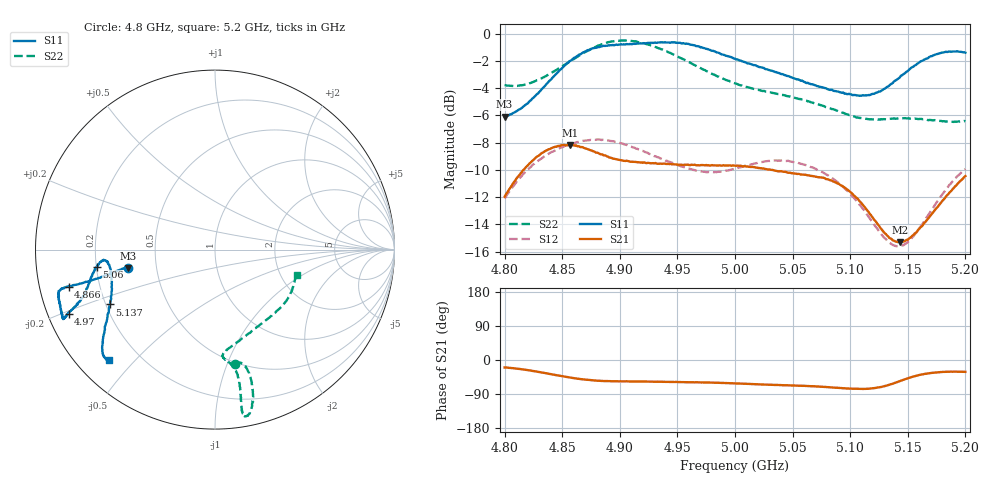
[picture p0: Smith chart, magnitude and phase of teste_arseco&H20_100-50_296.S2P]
! Network Analyzer HP8722D
! Hewlett-Packard
! Data name: Linha & Wilkinson
! Saver's name: Rodrigo Anjos
! Comments: Teste da utilização de aquisição
! continua pelo VNA HP8722D
! Time and date: 6/5/2025 15:02
!  Frequency  S11  S21  S12  S22
# HZ  S  MA R 50
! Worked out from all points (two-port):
!   401 points, 4.8 GHz to 5.2 GHz, reference 50 ohm
!   highest |S21| = -8.17 dB at 4.857 GHz (marker M1); lowest = -15.3 dB at 5.143 GHz (marker M2)
!   |S21| within 3 dB of the highest: 4.806 GHz to 5.093 GHz (286.8 MHz wide, 5.79 % of centre); 5.191832 GHz to end of sweep
!   lowest |S11| = -6.1 dB at 4.8 GHz (marker M3), VSWR 2.97, Z = 17 - j4.61 ohm
!   |S11| at or under -10 dB: nowhere
!   |S22| runs from -6.5 to -0.5 dB; largest |S21 - S12| = 0.62
!   S11 on the Smith chart (normalised r, x): 4.8 GHz: 0.34, -0.09; 4.866 GHz: 0.09, -0.12; 4.97 GHz: 0.06, -0.21; 5.06 GHz: 0.20, -0.07; 5.137 GHz: 0.22, -0.23; 5.2 GHz: 0.09, -0.42
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4.8e9  0.4966 -168.1  0.2519 -19.7  0.2485 -140.9  0.6474 -80.3
4.828e9  0.6002 -167.1  0.3532 -30.6  0.3382 -144.8  0.6749 -75.4
4.857e9  0.7955 -165.8  0.3905 -46.2  0.393 -150.3  0.7921 -74.8
4.866e9  0.8411 -165.8  0.383 -50.4  0.4023 -151.8  0.8365 -75.3
4.867e9  0.8476 -165.8  0.3837 -50.8  0.4031 -151.9  0.8425 -75.4
4.884e9  0.8985 -165.0  0.3607 -55.2  0.407 -154.9  0.914 -77.3
4.9e9  0.913 -162.6  0.3439 -56.2  0.3968 -156.5  0.9433 -79.1
4.934e9  0.9286 -156.4  0.3329 -57.4  0.3508 -155.6  0.8832 -80.4
4.97e9  0.8909 -156.4  0.3291 -59.1  0.3123 -147.0  0.7482 -79.6
5e9  0.8093 -158.9  0.3275 -61.8  0.3197 -137.2  0.6576 -81.2
5.036e9  0.7227 -165.5  0.3134 -65.8  0.3426 -134.4  0.6023 -85.7
5.06e9  0.6662 -171.6  0.3036 -68.1  0.3307 -136.1  0.5703 -84.2
5.067e9  0.6527 -173.0  0.3004 -69.1  0.3232 -136.8  0.559 -82.7
5.086e9  0.6164 -174.5  0.286 -72.9  0.2915 -138.3  0.5268 -75.2
5.102e9  0.5946 -171.7  0.2579 -75.9  0.2532 -138.7  0.4986 -66.0
5.116e9  0.5956 -165.7  0.2212 -75.9  0.2125 -135.5  0.4854 -55.8
5.134e9  0.6461 -154.2  0.1778 -65.3  0.171 -120.8  0.4866 -43.3
5.137e9  0.6599 -152.4  0.1741 -62.5  0.1677 -116.9  0.4877 -41.4
5.143e9  0.6905 -149.3  0.1714 -55.9  0.1661 -109.0  0.4885 -38.0
5.154e9  0.7543 -144.4  0.1812 -44.4  0.1789 -95.0  0.4885 -32.4
5.174e9  0.8389 -138.4  0.2263 -32.8  0.2364 -80.3  0.4805 -23.9
5.2e9  0.8519 -133.6  0.3 -31.3  0.3185 -76.8  0.4764 -17.6
